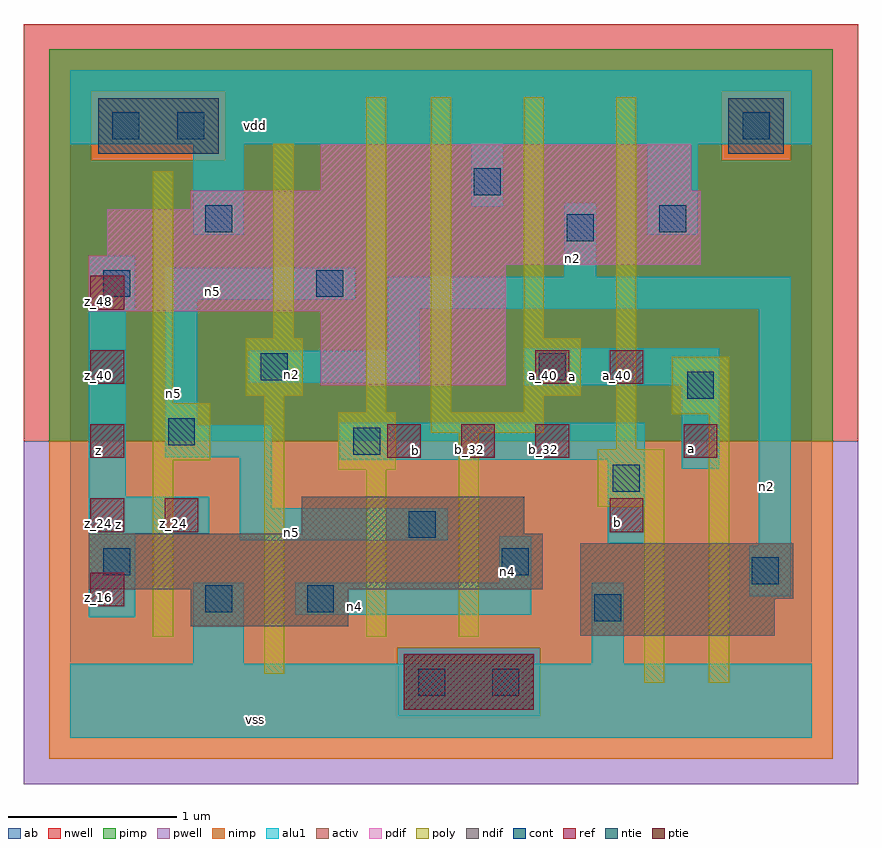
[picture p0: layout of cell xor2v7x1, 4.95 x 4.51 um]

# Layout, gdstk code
import gdstk
lib = gdstk.Library(unit=1e-6, precision=2.5e-09)
def R(c, l, rs):  # rectangles x0, y0, x1, y1
    for r in rs: c.add(gdstk.rectangle(r[:2], r[2:], *l))
def A(c, l, x, y, w, h, nx, ny, dx, dy):  # array of equal rectangles
    R(c, l, [(x+i*dx, y+j*dy, x+i*dx+w, y+j*dy+h) for i in range(nx) for j in range(ny)])
ndif = (3, 0)
pdif = (4, 0)
ntie = (5, 0)
ptie = (6, 0)
ref = (24, 0)
cont = (25, 0)
pwell = (41, 0)
nwell = (42, 0)
activ = (43, 0)
pimp = (44, 0)
nimp = (45, 0)
poly = (46, 0)
alu1 = (49, 0)
ab = (63, 0)

xor2v7x1 = lib.new_cell('xor2v7x1')
R(xor2v7x1, ndif, [(3.025,0.605,4.18,0.825), (0.715,0.66,1.65,0.88), (3.025,0.825,4.29,1.155), (0.11,0.88,2.805,1.21), (1.375,1.21,2.695,1.43)])
R(xor2v7x1, pdif, [(1.485,2.09,2.585,2.53), (0.11,2.53,2.585,2.805), (0.11,2.805,3.74,2.86), (0.22,2.86,3.74,3.135), (0.715,3.135,3.74,3.245), (1.485,3.245,3.685,3.52)])
R(xor2v7x1, ntie, [(0.165,3.465,0.88,3.795), (3.905,3.465,4.235,3.795)])
R(xor2v7x1, ptie, [(1.98,0.165,2.75,0.495)])
A(xor2v7x1, ref, 0.12, 0.78, 0.2, 0.2, 1, 5, 0, 0.44)
A(xor2v7x1, ref, 1.88, 1.66, 0.2, 0.2, 3, 1, 0.44, 0)
R(xor2v7x1, ref, [(0.56,1.22,0.76,1.42), (3.2,1.22,3.4,1.42), (3.64,1.66,3.84,1.86), (2.76,2.1,2.96,2.3), (3.2,2.1,3.4,2.3)])
R(xor2v7x1, cont, [(2.065,0.25,2.225,0.41), (2.505,0.25,2.665,0.41), (3.11,0.69,3.27,0.85), (0.8,0.745,0.96,0.905), (1.405,0.745,1.565,0.905), (4.045,0.91,4.205,1.07), (0.195,0.965,0.355,1.125), (2.56,0.965,2.72,1.125), (2.01,1.185,2.17,1.345), (3.22,1.46,3.38,1.62), (1.68,1.68,1.84,1.84), (0.58,1.735,0.74,1.895), (3.66,2.01,3.82,2.17), (1.13,2.12,1.29,2.28), (2.78,2.12,2.94,2.28), (0.195,2.615,0.355,2.775), (1.46,2.615,1.62,2.775), (2.945,2.945,3.105,3.105), (0.8,3,0.96,3.16), (3.495,3,3.655,3.16), (2.395,3.22,2.555,3.38), (0.25,3.55,0.41,3.71), (0.635,3.55,0.795,3.71), (3.99,3.55,4.15,3.71)])
R(xor2v7x1, pwell, [(-0.275,-0.275,4.675,1.76)])
R(xor2v7x1, nwell, [(-0.275,1.76,4.675,4.235)])
R(xor2v7x1, activ, [(1.98,0.165,2.75,0.495), (3.025,0.605,4.18,0.825), (0.715,0.66,1.65,0.88), (3.025,0.825,4.29,1.155), (0.11,0.88,2.805,1.21), (1.375,1.21,2.695,1.43), (1.485,2.09,2.585,2.53), (0.11,2.53,2.585,2.805), (0.11,2.805,3.74,2.86), (0.22,2.86,3.74,3.135), (0.715,3.135,3.74,3.245), (1.485,3.245,3.685,3.52), (0.165,3.465,0.88,3.795), (3.905,3.465,4.235,3.795)])
R(xor2v7x1, pimp, [(1.94,0.125,2.79,0.535), (-0.125,1.76,4.525,3.425), (-0.125,3.425,0.125,3.835), (0.92,3.425,3.865,3.835), (4.275,3.425,4.525,3.835), (-0.125,3.835,4.525,4.085)])
R(xor2v7x1, nimp, [(-0.125,-0.125,4.525,0.125), (-0.125,0.125,1.94,0.535), (2.79,0.125,4.525,0.535), (-0.125,0.535,4.525,1.76), (0.125,3.425,0.92,3.835), (3.865,3.425,4.275,3.835)])
R(xor2v7x1, poly, [(3.405,0.325,3.525,1.37), (3.79,0.325,3.91,1.92), (1.15,0.38,1.27,2.03), (0.49,0.6,0.61,1.645), (1.755,0.6,1.875,1.59), (2.305,0.6,2.425,1.81), (3.13,1.37,3.525,1.71), (1.59,1.59,1.93,1.93), (0.49,1.645,0.83,1.985), (3.24,1.71,3.36,3.8), (2.14,1.81,2.81,1.93), (3.57,1.92,3.91,2.26), (1.755,1.93,1.875,3.8), (2.14,1.93,2.26,3.8), (2.69,1.93,2.81,2.03), (0.49,1.985,0.61,3.36), (1.04,2.03,1.38,2.37), (2.69,2.03,3.03,2.37), (1.205,2.37,1.325,3.525), (2.69,2.37,2.81,3.8)])
R(xor2v7x1, alu1, [(0,0,4.4,0.44), (0.73,0.44,1.03,0.92), (3.095,0.44,3.285,0.92), (0.11,0.715,0.385,1.21), (1.335,0.73,2.735,0.92), (4.03,0.84,4.275,1.14), (2.545,0.92,2.735,1.195), (4.085,1.14,4.275,2.545), (3.19,1.155,3.41,1.65), (1.005,1.17,2.24,1.36), (0.11,1.21,0.825,1.43), (1.005,1.36,1.195,1.665), (0.11,1.43,0.33,2.53), (3.63,1.595,3.85,2.09), (1.595,1.65,3.41,1.87), (0.565,1.665,1.195,1.855), (0.565,1.855,0.755,2.6), (2.695,2.09,3.85,2.31), (1.06,2.105,2.075,2.295), (1.885,2.295,2.075,2.545), (0.11,2.53,0.385,2.86), (1.885,2.545,4.275,2.735), (0.565,2.6,1.69,2.79), (2.93,2.735,3.12,3.175), (0.73,2.985,1.03,3.52), (3.425,2.985,3.725,3.52), (2.38,3.15,2.57,3.52), (0,3.52,4.4,3.96)])
R(xor2v7x1, ab, [(0,0,4.4,3.96)])
xor2v7x1.add(gdstk.Label('vss', (1.1,0.11), layer=49, texttype=0))
xor2v7x1.add(gdstk.Label('n4', (1.685,0.7775), layer=49, texttype=0))
xor2v7x1.add(gdstk.Label('n2', (4.1325,1.49), layer=49, texttype=0))
xor2v7x1.add(gdstk.Label('a', (3.685,1.7175), layer=49, texttype=0))
xor2v7x1.add(gdstk.Label('b', (3.245,1.2775), layer=49, texttype=0))
xor2v7x1.add(gdstk.Label('n4', (2.5925,0.9875), layer=49, texttype=0))
xor2v7x1.add(gdstk.Label('n5', (1.3125,1.2175), layer=49, texttype=0))
xor2v7x1.add(gdstk.Label('b', (2.0475,1.705), layer=49, texttype=0))
xor2v7x1.add(gdstk.Label('z', (0.2875,1.265), layer=49, texttype=0))
xor2v7x1.add(gdstk.Label('a', (2.9825,2.145), layer=49, texttype=0))
xor2v7x1.add(gdstk.Label('n2', (1.3125,2.1525), layer=49, texttype=0))
xor2v7x1.add(gdstk.Label('n5', (0.6125,2.04), layer=49, texttype=0))
xor2v7x1.add(gdstk.Label('z', (0.165,1.705), layer=49, texttype=0))
xor2v7x1.add(gdstk.Label('n2', (2.9775,2.845), layer=49, texttype=0))
xor2v7x1.add(gdstk.Label('n5', (0.845,2.6475), layer=49, texttype=0))
xor2v7x1.add(gdstk.Label('vdd', (1.1,3.63), layer=49, texttype=0))
xor2v7x1.add(gdstk.Label('z_24', (0.61,1.27), layer=24, texttype=0))
xor2v7x1.add(gdstk.Label('b_32', (1.93,1.71), layer=24, texttype=0))
xor2v7x1.add(gdstk.Label('z_16', (0.17,0.83), layer=24, texttype=0))
xor2v7x1.add(gdstk.Label('z_24', (0.17,1.27), layer=24, texttype=0))
xor2v7x1.add(gdstk.Label('z_32', (0.17,1.71), layer=24, texttype=0))
xor2v7x1.add(gdstk.Label('z_40', (0.17,2.15), layer=24, texttype=0))
xor2v7x1.add(gdstk.Label('z_48', (0.17,2.59), layer=24, texttype=0))
xor2v7x1.add(gdstk.Label('b_32', (2.37,1.71), layer=24, texttype=0))
xor2v7x1.add(gdstk.Label('b_32', (2.81,1.71), layer=24, texttype=0))
xor2v7x1.add(gdstk.Label('a_40', (2.81,2.15), layer=24, texttype=0))
xor2v7x1.add(gdstk.Label('b_24', (3.25,1.27), layer=24, texttype=0))
xor2v7x1.add(gdstk.Label('a_40', (3.25,2.15), layer=24, texttype=0))
xor2v7x1.add(gdstk.Label('a_32', (3.69,1.71), layer=24, texttype=0))

lib.write_gds('xor2v7x1.gds')
